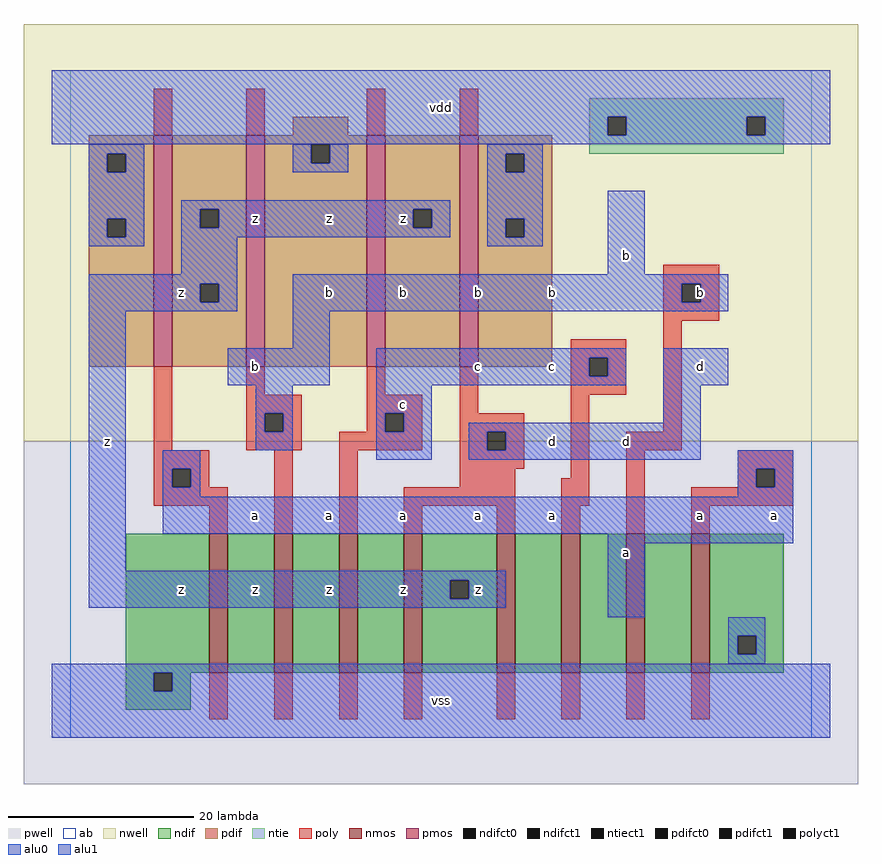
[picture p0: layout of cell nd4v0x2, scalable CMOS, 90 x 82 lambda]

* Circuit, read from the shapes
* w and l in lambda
.subckt nd4v0x2 a b c d vdd vss z
M1 n1 a vss VSUBS nfet w=15 l=2
M2 n2 b n1 VSUBS nfet w=15 l=2
M3 n3 c n2 VSUBS nfet w=15 l=2
M4 z d n3 VSUBS nfet w=15 l=2
M5 n4 d z VSUBS nfet w=15 l=2
M6 n5 c n4 VSUBS nfet w=15 l=2
M7 n6 b n5 VSUBS nfet w=15 l=2
M8 vss a n6 VSUBS nfet w=15 l=2
M9 z a vdd vdd pfet w=25 l=2
M10 vdd b z vdd pfet w=25 l=2
M11 z c vdd vdd pfet w=25 l=2
M12 vdd d z vdd pfet w=25 l=2
.ends

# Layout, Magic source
magic
tech scmos
<< ab >>
rect 0 0 80 72
<< nwell >>
rect -5 32 85 77
<< pwell >>
rect -5 -5 85 32
<< poly >>
rect 9 65 11 70
rect 19 65 21 70
rect 32 65 34 70
rect 42 65 44 70
rect 64 49 70 51
rect 64 47 66 49
rect 68 47 70 49
rect 64 45 70 47
rect 54 41 60 43
rect 9 31 11 40
rect 19 37 21 40
rect 32 37 34 40
rect 19 35 25 37
rect 19 33 21 35
rect 23 33 25 35
rect 32 35 38 37
rect 32 33 34 35
rect 36 33 38 35
rect 19 31 25 33
rect 29 31 38 33
rect 42 35 44 40
rect 54 39 56 41
rect 58 39 60 41
rect 54 37 60 39
rect 42 33 49 35
rect 42 31 45 33
rect 47 31 49 33
rect 9 29 15 31
rect 9 27 11 29
rect 13 27 15 29
rect 9 25 17 27
rect 15 22 17 25
rect 22 22 24 31
rect 29 22 31 31
rect 42 29 49 31
rect 42 27 48 29
rect 54 28 56 37
rect 64 33 66 45
rect 36 25 48 27
rect 36 22 38 25
rect 46 22 48 25
rect 53 25 56 28
rect 60 31 66 33
rect 53 22 55 25
rect 60 22 62 31
rect 72 29 78 31
rect 72 27 74 29
rect 76 27 78 29
rect 67 25 78 27
rect 67 22 69 25
rect 15 2 17 7
rect 22 2 24 7
rect 29 2 31 7
rect 36 2 38 7
rect 46 2 48 7
rect 53 2 55 7
rect 60 2 62 7
rect 67 2 69 7
<< ndif >>
rect 6 7 15 22
rect 17 7 22 22
rect 24 7 29 22
rect 31 7 36 22
rect 38 17 46 22
rect 38 15 41 17
rect 43 15 46 17
rect 38 7 46 15
rect 48 7 53 22
rect 55 7 60 22
rect 62 7 67 22
rect 69 11 77 22
rect 69 9 72 11
rect 74 9 77 11
rect 69 7 77 9
rect 6 5 9 7
rect 11 5 13 7
rect 6 3 13 5
<< pdif >>
rect 24 65 30 67
rect 2 63 9 65
rect 2 61 4 63
rect 6 61 9 63
rect 2 56 9 61
rect 2 54 4 56
rect 6 54 9 56
rect 2 40 9 54
rect 11 57 19 65
rect 11 55 14 57
rect 16 55 19 57
rect 11 49 19 55
rect 11 47 14 49
rect 16 47 19 49
rect 11 40 19 47
rect 21 64 32 65
rect 21 62 26 64
rect 28 62 32 64
rect 21 40 32 62
rect 34 57 42 65
rect 34 55 37 57
rect 39 55 42 57
rect 34 40 42 55
rect 44 63 52 65
rect 44 61 47 63
rect 49 61 52 63
rect 44 56 52 61
rect 44 54 47 56
rect 49 54 52 56
rect 44 40 52 54
<< alu1 >>
rect -2 67 82 72
rect -2 65 58 67
rect 60 65 73 67
rect 75 65 82 67
rect -2 64 82 65
rect 12 57 41 58
rect 12 55 14 57
rect 16 55 37 57
rect 39 55 41 57
rect 12 54 41 55
rect 12 50 18 54
rect 58 50 62 59
rect 2 49 18 50
rect 2 47 14 49
rect 16 47 18 49
rect 2 46 18 47
rect 24 49 71 50
rect 24 47 66 49
rect 68 47 71 49
rect 24 46 71 47
rect 2 18 6 46
rect 24 42 28 46
rect 17 38 28 42
rect 33 41 60 42
rect 33 39 56 41
rect 58 39 60 41
rect 33 38 60 39
rect 64 38 71 42
rect 20 35 24 38
rect 20 33 21 35
rect 23 33 24 35
rect 20 31 24 33
rect 33 35 39 38
rect 33 33 34 35
rect 36 33 39 35
rect 64 34 68 38
rect 10 29 14 31
rect 33 30 39 33
rect 43 33 68 34
rect 43 31 45 33
rect 47 31 68 33
rect 43 30 68 31
rect 10 27 11 29
rect 13 27 14 29
rect 10 26 14 27
rect 72 29 78 31
rect 72 27 74 29
rect 76 27 78 29
rect 72 26 78 27
rect 10 22 78 26
rect 58 21 78 22
rect 2 17 47 18
rect 2 15 41 17
rect 43 15 47 17
rect 2 14 47 15
rect 58 13 62 21
rect -2 7 82 8
rect -2 5 9 7
rect 11 5 82 7
rect -2 0 82 5
<< ntie >>
rect 56 67 77 69
rect 56 65 58 67
rect 60 65 73 67
rect 75 65 77 67
rect 56 63 77 65
<< nmos >>
rect 15 7 17 22
rect 22 7 24 22
rect 29 7 31 22
rect 36 7 38 22
rect 46 7 48 22
rect 53 7 55 22
rect 60 7 62 22
rect 67 7 69 22
<< pmos >>
rect 9 40 11 65
rect 19 40 21 65
rect 32 40 34 65
rect 42 40 44 65
<< polyct1 >>
rect 66 47 68 49
rect 21 33 23 35
rect 34 33 36 35
rect 56 39 58 41
rect 45 31 47 33
rect 11 27 13 29
rect 74 27 76 29
<< ndifct0 >>
rect 72 9 74 11
<< ndifct1 >>
rect 41 15 43 17
rect 9 5 11 7
<< ntiect1 >>
rect 58 65 60 67
rect 73 65 75 67
<< pdifct0 >>
rect 4 61 6 63
rect 4 54 6 56
rect 26 62 28 64
rect 47 61 49 63
rect 47 54 49 56
<< pdifct1 >>
rect 14 55 16 57
rect 14 47 16 49
rect 37 55 39 57
<< alu0 >>
rect 2 63 8 64
rect 2 61 4 63
rect 6 61 8 63
rect 24 62 26 64
rect 28 62 30 64
rect 24 61 30 62
rect 45 63 51 64
rect 45 61 47 63
rect 49 61 51 63
rect 2 56 8 61
rect 2 54 4 56
rect 6 54 8 56
rect 2 53 8 54
rect 45 56 51 61
rect 45 54 47 56
rect 49 54 51 56
rect 45 53 51 54
rect 71 11 75 13
rect 71 9 72 11
rect 74 9 75 11
rect 71 8 75 9
<< labels >>
rlabel alu1 4 32 4 32 6 z
rlabel alu1 20 16 20 16 6 z
rlabel alu1 28 16 28 16 6 z
rlabel alu1 12 16 12 16 6 z
rlabel alu1 20 24 20 24 6 a
rlabel alu1 28 24 28 24 6 a
rlabel alu1 20 40 20 40 6 b
rlabel alu1 12 48 12 48 6 z
rlabel alu1 28 48 28 48 6 b
rlabel alu1 20 56 20 56 6 z
rlabel alu1 28 56 28 56 6 z
rlabel alu1 40 4 40 4 6 vss
rlabel alu1 36 16 36 16 6 z
rlabel alu1 44 16 44 16 6 z
rlabel alu1 36 24 36 24 6 a
rlabel alu1 44 24 44 24 6 a
rlabel alu1 44 40 44 40 6 c
rlabel alu1 36 36 36 36 6 c
rlabel alu1 36 48 36 48 6 b
rlabel alu1 44 48 44 48 6 b
rlabel alu1 36 56 36 56 6 z
rlabel alu1 40 68 40 68 6 vdd
rlabel alu1 52 24 52 24 6 a
rlabel alu1 60 20 60 20 6 a
rlabel alu1 60 32 60 32 6 d
rlabel alu1 52 32 52 32 6 d
rlabel alu1 52 40 52 40 6 c
rlabel alu1 52 48 52 48 6 b
rlabel alu1 60 52 60 52 6 b
rlabel alu1 68 24 68 24 6 a
rlabel alu1 76 24 76 24 6 a
rlabel alu1 68 40 68 40 6 d
rlabel alu1 68 48 68 48 6 b
<< end >>
